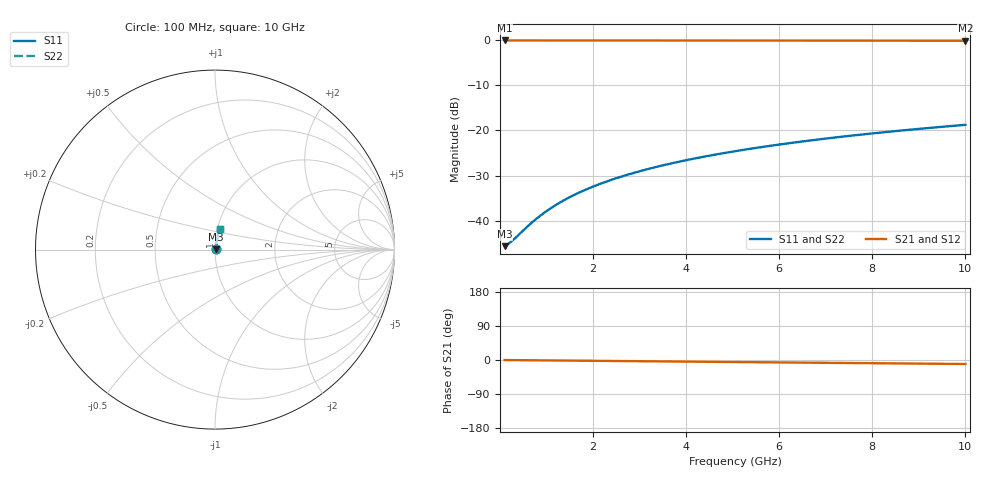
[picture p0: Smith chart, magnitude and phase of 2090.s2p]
# Hz S RI R 50.00
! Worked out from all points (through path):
!   100 points, 100 MHz to 10 GHz, reference 50 ohm
!   highest |S21| = -0.04 dB at 100 MHz (marker M1); lowest = -0.1 dB at 10 GHz (marker M2)
!   group delay of S21, straight-line fit = 2.93 ps
!   lowest |S11| = -45.6 dB at 100 MHz (marker M3), VSWR 1.01, Z = 50.5 + j0.117 ohm
!   |S11| at or under -10 dB: start of sweep to end of sweep
!   |S22| runs from -45.6 to -18.8 dB; largest |S21 - S12| = 0
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1e8  0.00509 0.00116  0.9949 -0.00184  0.9949 -0.00184  0.00509 0.00116
2e8  0.00513 0.00231  0.9949 -0.00368  0.9949 -0.00368  0.00513 0.00231
3e8  0.00517 0.00347  0.9948 -0.00552  0.9948 -0.00552  0.00517 0.00347
7e8  0.00532 0.00808  0.9947 -0.0129  0.9947 -0.0129  0.00532 0.00808
8e8  0.00536 0.00924  0.9946 -0.0147  0.9946 -0.0147  0.00536 0.00924
1e9  0.00546 0.0115  0.9945 -0.0184  0.9945 -0.0184  0.00546 0.0115
1.2e9  0.00557 0.0139  0.9944 -0.0221  0.9944 -0.0221  0.00557 0.0139
1.4e9  0.0057 0.0162  0.9942 -0.0257  0.9942 -0.0257  0.0057 0.0162
1.6e9  0.00584 0.0185  0.9941 -0.0294  0.9941 -0.0294  0.00584 0.0185
1.8e9  0.006 0.0208  0.9939 -0.0331  0.9939 -0.0331  0.006 0.0208
2.1e9  0.00627 0.0242  0.9936 -0.0386  0.9936 -0.0386  0.00627 0.0242
2.5e9  0.00669 0.0288  0.9931 -0.0459  0.9931 -0.0459  0.00669 0.0288
2.9e9  0.00717 0.0334  0.9926 -0.0532  0.9926 -0.0532  0.00717 0.0334
3.4e9  0.00787 0.0391  0.9918 -0.0624  0.9918 -0.0624  0.00787 0.0391
3.8e9  0.0085 0.0437  0.9911 -0.0697  0.9911 -0.0697  0.0085 0.0437
4.2e9  0.0092 0.0483  0.9904 -0.077  0.9904 -0.077  0.0092 0.0483
5.1e9  0.011 0.0585  0.9883 -0.0934  0.9883 -0.0934  0.011 0.0585
5.9e9  0.0129 0.0675  0.9862 -0.1078  0.9862 -0.1078  0.0129 0.0675
6.7e9  0.0151 0.0764  0.9838 -0.1223  0.9838 -0.1223  0.0151 0.0764
7.5e9  0.0175 0.0853  0.9812 -0.1366  0.9812 -0.1366  0.0175 0.0853
8.4e9  0.0205 0.0951  0.9778 -0.1527  0.9778 -0.1527  0.0205 0.0951
1e10  0.0266 0.1124  0.9709 -0.1809  0.9709 -0.1809  0.0266 0.1124
